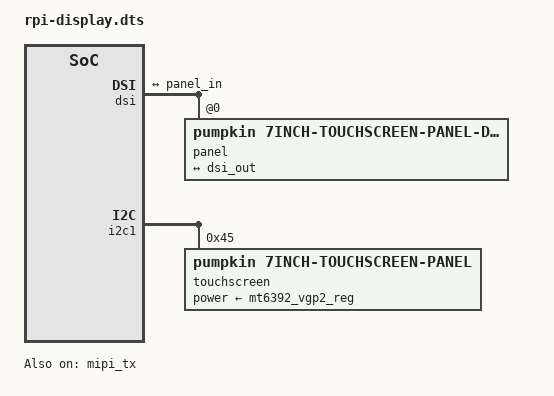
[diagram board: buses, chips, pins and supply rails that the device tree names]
#include "mt8167-pinfunc.h"

/dts-v1/;
/plugin/;

/ {
	fragment@0 {
		target = <&dsi>;
		__overlay__ {
			status = "okay";
			#address-cells = <1>;
			#size-cells = <0>;

			ports {
				port@0 {
					reg = <0>;

					dsi_out: endpoint {
						remote-endpoint = <&panel_in>;
					};
				};
			};

			panel@0 {
				compatible = "pumpkin,7inch-touchscreen-panel-dsi";
				reg = <0>;
				pumpkin,touchscreen = <&touchscreen>;

				port {
					panel_in: endpoint {
						remote-endpoint = <&dsi_out>;
					};
				};
			};
		};
	};

	fragment@1 {
		target = <&i2c1>;
		__overlay__ {
			clock-div = <2>;
			pinctrl-names = "default";
			pinctrl-0 = <&i2c1_pins_a>;
			status = "okay";

			touchscreen: touchscreen@0 {
				compatible = "pumpkin,7inch-touchscreen-panel";
				reg = <0x45>;
				status = "okay";
				pinctrl-0 = <&panel_pins>;
				pinctrl-names = "default";
				power-supply = <&mt6392_vgp2_reg>;
			};
		};
	};

	fragment@2 {
		target = <&mipi_tx>;
		__overlay__ {
			status = "okay";
		};
	};

	fragment@3 {
		target = <&pio>;
		__overlay__ {
			i2c1_pins_a: i2c1@0 {
				pins1 {
					pinmux = <MT8167_PIN_52_SDA1__FUNC_SDA1_0>,
						 <MT8167_PIN_53_SCL1__FUNC_SCL1_0>;
					bias-disable;
				};
			};

			panel_pins: panel_pins {
				pins {
					pinmux = <MT8167_PIN_66_LCM_RST__FUNC_GPIO66>,
						 <MT8167_PIN_67_DSI_TE__FUNC_GPIO67>;
					output-high;
				};
			};
		};
	};
};
